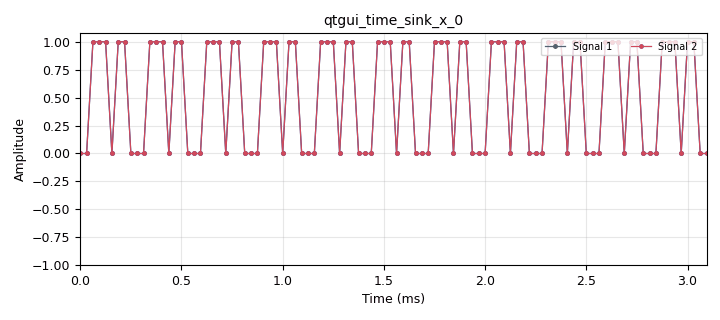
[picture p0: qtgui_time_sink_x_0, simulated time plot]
options:
  parameters:
    generate_options: qt_gui
    id: gfsk_test_graph
    output_language: python
    title: Not titled yet
  states: {}

blocks:
- name: samp_rate
  id: variable
  parameters:
    value: '32000'
  states: {}
- name: analog_const_source_x_0
  id: analog_const_source_x
  parameters:
    const: '1.0'
    type: float
  states: {}
- name: blocks_delay_0
  id: blocks_delay
  parameters:
    delay: '0'
    type: float
  states: {}
- name: blocks_multiply_xx_0
  id: blocks_multiply_xx
  parameters:
    type: float
  states: {}
- name: blocks_stream_to_tagged_stream_0
  id: blocks_stream_to_tagged_stream
  parameters:
    len_tag_key: '"packet_len"'
    packet_len: '9'
    type: byte
  states: {}
- name: blocks_throttle2_0
  id: blocks_throttle2
  parameters:
    samples_per_second: samp_rate
    type: byte
  states: {}
- name: blocks_uchar_to_float_0
  id: blocks_uchar_to_float
  parameters: {}
  states: {}
- name: blocks_uchar_to_float_1
  id: blocks_uchar_to_float
  parameters: {}
  states: {}
- name: blocks_vector_source_x_0
  id: blocks_vector_source_x
  parameters:
    repeat: 'True'
    type: byte
    vector: (0, 0, 0, 1, 1, 1, 0, 1, 1)
  states: {}
- name: digital_gfsk_demod_0
  id: digital_gfsk_demod
  parameters:
    freq_error: '0.0'
    gain_mu: '0.175'
    mu: '0.5'
    omega_relative_limit: '0.005'
    samples_per_symbol: '2'
    sensitivity: '1.0'
  states: {}
- name: digital_gfsk_mod_0
  id: digital_gfsk_mod
  parameters:
    bt: '0.35'
    do_unpack: 'False'
    samples_per_symbol: '2'
    sensitivity: '1.0'
  states: {}
- name: qtgui_time_sink_x_0
  id: qtgui_time_sink_x
  parameters:
    grid: 'True'
    marker1: '1'
    marker2: '8'
    nconnections: '2'
    size: '100'
    srate: samp_rate
    type: float
  states: {}

connections:
- [analog_const_source_x_0, '0', blocks_multiply_xx_0, '1']
- [blocks_delay_0, '0', blocks_multiply_xx_0, '0']
- [blocks_multiply_xx_0, '0', qtgui_time_sink_x_0, '1']
- [blocks_stream_to_tagged_stream_0, '0', blocks_throttle2_0, '0']
- [blocks_stream_to_tagged_stream_0, '0', blocks_uchar_to_float_0, '0']
- [blocks_throttle2_0, '0', digital_gfsk_mod_0, '0']
- [blocks_uchar_to_float_0, '0', blocks_delay_0, '0']
- [blocks_uchar_to_float_1, '0', qtgui_time_sink_x_0, '0']
- [blocks_vector_source_x_0, '0', blocks_stream_to_tagged_stream_0, '0']
- [digital_gfsk_demod_0, '0', blocks_uchar_to_float_1, '0']
- [digital_gfsk_mod_0, '0', digital_gfsk_demod_0, '0']

metadata:
  file_format: 1
  grc_version: 3.10.12.0
